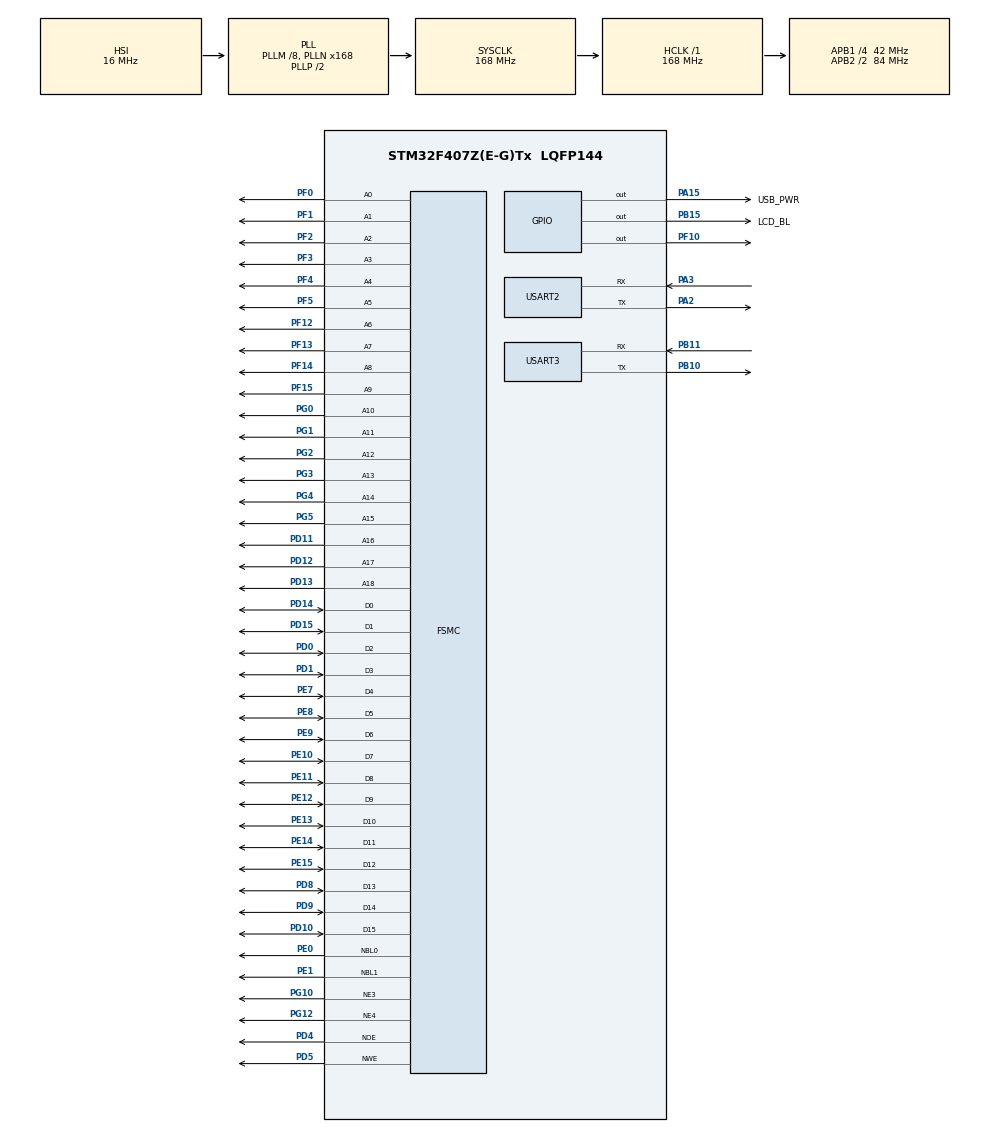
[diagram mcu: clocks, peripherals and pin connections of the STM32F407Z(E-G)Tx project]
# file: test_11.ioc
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Dma.Request0=USART2_RX
Dma.Request1=USART3_RX
Dma.USART2_RX.0.Direction=DMA_PERIPH_TO_MEMORY
Dma.USART2_RX.0.FIFOMode=DMA_FIFOMODE_DISABLE
Dma.USART2_RX.0.Instance=DMA1_Stream5
Dma.USART2_RX.0.MemDataAlignment=DMA_MDATAALIGN_BYTE
Dma.USART2_RX.0.MemInc=DMA_MINC_ENABLE
Dma.USART2_RX.0.Mode=DMA_CIRCULAR
Dma.USART2_RX.0.PeriphDataAlignment=DMA_PDATAALIGN_BYTE
Dma.USART2_RX.0.PeriphInc=DMA_PINC_DISABLE
Dma.USART2_RX.0.Priority=DMA_PRIORITY_HIGH
Dma.USART3_RX.1.Direction=DMA_PERIPH_TO_MEMORY
Dma.USART3_RX.1.FIFOMode=DMA_FIFOMODE_DISABLE
Dma.USART3_RX.1.Instance=DMA1_Stream1
Dma.USART3_RX.1.MemDataAlignment=DMA_MDATAALIGN_BYTE
Dma.USART3_RX.1.MemInc=DMA_MINC_ENABLE
Dma.USART3_RX.1.Mode=DMA_CIRCULAR
Dma.USART3_RX.1.PeriphDataAlignment=DMA_PDATAALIGN_BYTE
Dma.USART3_RX.1.PeriphInc=DMA_PINC_DISABLE
Dma.USART3_RX.1.Priority=DMA_PRIORITY_HIGH
FREERTOS.Tasks01=defaultTask,24,512,StartDefaultTask,Default,NULL,Dynamic,NULL,NULL;testTaskn,24,512,testTask,As external,NULL,Dynamic,NULL,NULL
FREERTOS.configTOTAL_HEAP_SIZE=30720
FREERTOS.configUSE_NEWLIB_REENTRANT=1
FSMC.AddressSetupTime1=5
FSMC.AddressSetupTime2=0
FSMC.BusTurnAroundDuration1=1
FSMC.BusTurnAroundDuration2=0
FSMC.DataSetupTime1=7
FSMC.DataSetupTime2=60
FSMC.ExtendedAddressSetupTime2=9
FSMC.ExtendedBusTurnAroundDuration2=0
FSMC.ExtendedDataSetupTime2=8
FSMC.ExtendedMode2=FSMC_EXTENDED_MODE_ENABLE
FSMC.WriteOperation1=FSMC_WRITE_OPERATION_ENABLE
Mcu.Family=STM32F4
Mcu.Name=STM32F407Z(E-G)Tx
Mcu.Package=LQFP144
NVIC.DMA1_Stream1_IRQn=true\:5\:0\:false\:false\:true\:true\:false\:true\:true
NVIC.DMA1_Stream5_IRQn=true\:5\:0\:true\:false\:true\:true\:false\:true\:true
NVIC.PriorityGroup=NVIC_PRIORITYGROUP_4
NVIC.TIM5_IRQn=true\:15\:0\:false\:false\:true\:false\:false\:true\:true
NVIC.TimeBase=TIM5_IRQn
NVIC.TimeBaseIP=TIM5
NVIC.USART2_IRQn=true\:5\:0\:true\:false\:true\:true\:true\:true\:true
NVIC.USART3_IRQn=true\:5\:0\:false\:false\:true\:true\:true\:true\:true
PA13.Mode=Serial_Wire
PA13.Signal=SYS_JTMS-SWDIO
PA14.Mode=Serial_Wire
PA14.Signal=SYS_JTCK-SWCLK
PA15.GPIO_Label=USB_PWR
PA15.Signal=GPIO_Output
PA2.GPIO_PuPd=GPIO_PULLUP
PA2.Mode=Asynchronous
PA2.Signal=USART2_TX
PA3.GPIO_PuPd=GPIO_PULLUP
PA3.Mode=Asynchronous
PA3.Signal=USART2_RX
PB10.GPIO_PuPd=GPIO_PULLUP
PB10.Mode=Asynchronous
PB10.Signal=USART3_TX
PB11.GPIO_PuPd=GPIO_PULLUP
PB11.Mode=Asynchronous
PB11.Signal=USART3_RX
PB15.GPIO_Label=LCD_BL
PB15.Signal=GPIO_Output
PD0.Signal=FSMC_D2_DA2
PD1.Signal=FSMC_D3_DA3
PD10.Signal=FSMC_D15_DA15
PD11.Signal=FSMC_A16_CLE
PD12.Signal=FSMC_A17_ALE
PD13.Signal=FSMC_A18
PD14.Signal=FSMC_D0_DA0
PD15.Signal=FSMC_D1_DA1
PD4.Signal=FSMC_NOE
PD5.Signal=FSMC_NWE
PD8.Signal=FSMC_D13_DA13
PD9.Signal=FSMC_D14_DA14
PE0.Signal=FSMC_NBL0
PE1.Signal=FSMC_NBL1
PE10.Signal=FSMC_D7_DA7
PE11.Signal=FSMC_D8_DA8
PE12.Signal=FSMC_D9_DA9
PE13.Signal=FSMC_D10_DA10
PE14.Signal=FSMC_D11_DA11
PE15.Signal=FSMC_D12_DA12
PE7.Signal=FSMC_D4_DA4
PE8.Signal=FSMC_D5_DA5
PE9.Signal=FSMC_D6_DA6
PF0.Signal=FSMC_A0
PF1.Signal=FSMC_A1
PF10.Signal=GPIO_Output
PF12.Signal=FSMC_A6
PF13.Signal=FSMC_A7
PF14.Signal=FSMC_A8
PF15.Signal=FSMC_A9
PF2.Signal=FSMC_A2
PF3.Signal=FSMC_A3
PF4.Signal=FSMC_A4
PF5.Signal=FSMC_A5
PG0.Signal=FSMC_A10
PG1.Signal=FSMC_A11
PG10.Mode=NorPsramChipSelect3_1
PG10.Signal=FSMC_NE3
PG12.Mode=NorPsramChipSelect4_2
PG12.Signal=FSMC_NE4
PG2.Signal=FSMC_A12
PG3.Signal=FSMC_A13
PG4.Signal=FSMC_A14
PG5.Signal=FSMC_A15
ProjectManager.HeapSize=0x2000
ProjectManager.StackSize=0x4000
ProjectManager.TargetToolchain=STM32CubeIDE
RCC.48MHZClocksFreq_Value=67200000
RCC.AHBFreq_Value=168000000
RCC.APB1CLKDivider=RCC_HCLK_DIV4
RCC.APB1Freq_Value=42000000
RCC.APB1TimFreq_Value=84000000
RCC.APB2CLKDivider=RCC_HCLK_DIV2
RCC.APB2Freq_Value=84000000
RCC.APB2TimFreq_Value=168000000
RCC.CortexFreq_Value=168000000
RCC.HCLKFreq_Value=168000000
RCC.HSE_VALUE=25000000
RCC.HSI_VALUE=16000000
RCC.LSE_VALUE=32768
RCC.PLLM=8
RCC.PLLN=168
RCC.PLLQ=5
RCC.SYSCLKFreq_VALUE=168000000
RCC.SYSCLKSource=RCC_SYSCLKSOURCE_PLLCLK
RCC.VCOOutputFreq_Value=336000000
SH.FSMC_A0.0=FSMC_A0,19b-a1
SH.FSMC_A1.0=FSMC_A1,19b-a1
SH.FSMC_A10.0=FSMC_A10,19b-a1
SH.FSMC_A11.0=FSMC_A11,19b-a1
SH.FSMC_A12.0=FSMC_A12,19b-a1
SH.FSMC_A13.0=FSMC_A13,19b-a1
SH.FSMC_A14.0=FSMC_A14,19b-a1
SH.FSMC_A15.0=FSMC_A15,19b-a1
SH.FSMC_A16_CLE.0=FSMC_A16,19b-a1
SH.FSMC_A17_ALE.0=FSMC_A17,19b-a1
SH.FSMC_A18.0=FSMC_A18,19b-a1
SH.FSMC_A2.0=FSMC_A2,19b-a1
SH.FSMC_A3.0=FSMC_A3,19b-a1
SH.FSMC_A4.0=FSMC_A4,19b-a1
SH.FSMC_A5.0=FSMC_A5,19b-a1
SH.FSMC_A6.0=FSMC_A6,19b-a1
SH.FSMC_A6.1=FSMC_A6,A6_2
SH.FSMC_A7.0=FSMC_A7,19b-a1
SH.FSMC_A8.0=FSMC_A8,19b-a1
SH.FSMC_A9.0=FSMC_A9,19b-a1
SH.FSMC_D0_DA0.0=FSMC_D0,16b-d1
SH.FSMC_D0_DA0.1=FSMC_D0,16b-d2
SH.FSMC_D10_DA10.0=FSMC_D10,16b-d1
SH.FSMC_D10_DA10.1=FSMC_D10,16b-d2
SH.FSMC_D11_DA11.0=FSMC_D11,16b-d1
SH.FSMC_D11_DA11.1=FSMC_D11,16b-d2
SH.FSMC_D12_DA12.0=FSMC_D12,16b-d1
SH.FSMC_D12_DA12.1=FSMC_D12,16b-d2
SH.FSMC_D13_DA13.0=FSMC_D13,16b-d1
SH.FSMC_D13_DA13.1=FSMC_D13,16b-d2
SH.FSMC_D14_DA14.0=FSMC_D14,16b-d1
SH.FSMC_D14_DA14.1=FSMC_D14,16b-d2
SH.FSMC_D15_DA15.0=FSMC_D15,16b-d1
SH.FSMC_D15_DA15.1=FSMC_D15,16b-d2
SH.FSMC_D1_DA1.0=FSMC_D1,16b-d1
SH.FSMC_D1_DA1.1=FSMC_D1,16b-d2
SH.FSMC_D2_DA2.0=FSMC_D2,16b-d1
SH.FSMC_D2_DA2.1=FSMC_D2,16b-d2
SH.FSMC_D3_DA3.0=FSMC_D3,16b-d1
SH.FSMC_D3_DA3.1=FSMC_D3,16b-d2
SH.FSMC_D4_DA4.0=FSMC_D4,16b-d1
SH.FSMC_D4_DA4.1=FSMC_D4,16b-d2
SH.FSMC_D5_DA5.0=FSMC_D5,16b-d1
SH.FSMC_D5_DA5.1=FSMC_D5,16b-d2
SH.FSMC_D6_DA6.0=FSMC_D6,16b-d1
SH.FSMC_D6_DA6.1=FSMC_D6,16b-d2
SH.FSMC_D7_DA7.0=FSMC_D7,16b-d1
SH.FSMC_D7_DA7.1=FSMC_D7,16b-d2
SH.FSMC_D8_DA8.0=FSMC_D8,16b-d1
SH.FSMC_D8_DA8.1=FSMC_D8,16b-d2
SH.FSMC_D9_DA9.0=FSMC_D9,16b-d1
SH.FSMC_D9_DA9.1=FSMC_D9,16b-d2
SH.FSMC_NBL0.0=FSMC_NBL0,2ByteEnable1
SH.FSMC_NBL1.0=FSMC_NBL1,2ByteEnable1
SH.FSMC_NOE.0=FSMC_NOE,Sram1
SH.FSMC_NOE.1=FSMC_NOE,Lcd2
SH.FSMC_NWE.0=FSMC_NWE,Sram1
SH.FSMC_NWE.1=FSMC_NWE,Lcd2
USART2.VirtualMode=VM_ASYNC
USART3.VirtualMode=VM_ASYNC
VP_FREERTOS_VS_CMSIS_V2.Mode=CMSIS_V2
VP_SYS_VS_tim5.Mode=TIM5
board=custom

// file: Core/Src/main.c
/* USER CODE BEGIN Header */
/**
 ******************************************************************************
 * @file           : main.c
 * @brief          : Main program body
 ******************************************************************************
 * @attention
 *
 * Copyright (c) 2022 STMicroelectronics.
 * All rights reserved.
 *
 * This software is licensed under terms that can be found in the LICENSE file
 * in the root directory of this software component.
 * If no LICENSE file comes with this software, it is provided AS-IS.
 *
 ******************************************************************************
 */
/* USER CODE END Header */
#include "main.h"
#include "cmsis_os.h"
#include "dma.h"
#include "usart.h"
#include "gpio.h"
#include "fsmc.h"

/* USER CODE BEGIN Includes */
#include "uart_packet_handler.h"
#include "lcd.h"
#include <stdio.h>
#include <string.h>
#include <stdlib.h>
/* USER CODE END Includes */

/* USER CODE BEGIN PV */
UartMessageHandler debugMessageHandler;
UartMessageHandler espMessageHandler;
uint32_t lcd_test = 0;
char lcd_s[100] = { 0 };
/* USER CODE END PV */

void SystemClock_Config(void);
void MX_FREERTOS_Init(void);

/* USER CODE BEGIN 0 */
#ifdef __GNUC__
#define PUTCHAR_PROTOTYPE int __io_putchar(int ch)
#else
#define PUTCHAR_PROTOTYPE int fputc(int ch, FILE *f)
#endif

PUTCHAR_PROTOTYPE {
  HAL_UART_Transmit(&huart2, (uint8_t*) &ch, 1, HAL_MAX_DELAY);
  return ch;
}

void Vector_Init_Setting(uint32_t addr)  //The interrupt vector transfer
{
  SCB->VTOR = addr;
}
void debugPacketHandler(uint8_t *packet, uint16_t packetLen, void *arg) {
}

void espPacketHandler(uint8_t *packet, uint16_t packetLen, void *arg) {
  printf("%.*s\r\n", packetLen, packet);
}

void testTask(void *argument) {
  for (;;) {
    HAL_GPIO_TogglePin(GPIOF, GPIO_PIN_10);
    LLSendData(&espMessageHandler.llhandler, "hello_esp", strlen("hello_esp"));
    memset(lcd_test, 0, 100);
    lcd_test++;
    snprintf(lcd_s, 100, "LCD test:%d!", lcd_test);
    LCD_ShowString(30, 50, 200, 16, 16, lcd_s);
    osDelay(1000);
  }
}
/* USER CODE END 0 */

int main(void)
{
  /* USER CODE BEGIN 1 */
  Vector_Init_Setting(FLASH_BASE);
  /* USER CODE END 1 */

  /* MCU Configuration--------------------------------------------------------*/

  /* Reset of all peripherals, Initializes the Flash interface and the Systick. */
  HAL_Init();

  /* Configure the system clock */
  SystemClock_Config();

  /* Initialize all configured peripherals */
  MX_GPIO_Init();
  MX_DMA_Init();
  MX_USART2_UART_Init();
  MX_FSMC_Init();
  MX_USART3_UART_Init();
  /* USER CODE BEGIN 2 */
  UartPacketSetFunction(&debugMessageHandler, debugPacketHandler);
  UartPacketHandlerInit(&debugMessageHandler, &huart2, &hdma_usart2_rx);

  UartPacketSetFunction(&espMessageHandler, espPacketHandler);
  UartPacketHandlerInit(&espMessageHandler, &huart3, &hdma_usart3_rx);
  LCD_Init();
  LCD_ShowString(30, 50, 200, 16, 16, "Lcd test!");
  /* USER CODE END 2 */

  /* Init scheduler */
  osKernelInitialize();  /* Call init function for freertos objects (in freertos.c) */
  MX_FREERTOS_Init();

  /* Start scheduler */
  osKernelStart();

  /* We should never get here as control is now taken by the scheduler */
  /* Infinite loop */
  /* USER CODE BEGIN WHILE */
  while (1) {
    HAL_GPIO_TogglePin(GPIOF, GPIO_PIN_10);
    LLSendData(&espMessageHandler.llhandler, "hello_esp", strlen("hello_esp"));
    memset(lcd_test, 0, 100);
    lcd_test++;
    snprintf(lcd_s, 100, "LCD test:%d!", lcd_test);
    LCD_ShowString(30, 50, 200, 16, 16, lcd_s);
    HAL_Delay(1000);
    /* USER CODE END WHILE */

  }
}

void SystemClock_Config(void)
{
  RCC_OscInitTypeDef RCC_OscInitStruct = {0};
  RCC_ClkInitTypeDef RCC_ClkInitStruct = {0};

  /** Configure the main internal regulator output voltage
  */
  __HAL_RCC_PWR_CLK_ENABLE();
  __HAL_PWR_VOLTAGESCALING_CONFIG(PWR_REGULATOR_VOLTAGE_SCALE1);

  /** Initializes the RCC Oscillators according to the specified parameters
  * in the RCC_OscInitTypeDef structure.
  */
  RCC_OscInitStruct.OscillatorType = RCC_OSCILLATORTYPE_HSI;
  RCC_OscInitStruct.HSIState = RCC_HSI_ON;
  RCC_OscInitStruct.HSICalibrationValue = RCC_HSICALIBRATION_DEFAULT;
  RCC_OscInitStruct.PLL.PLLState = RCC_PLL_ON;
  RCC_OscInitStruct.PLL.PLLSource = RCC_PLLSOURCE_HSI;
  RCC_OscInitStruct.PLL.PLLM = 8;
  RCC_OscInitStruct.PLL.PLLN = 168;
  RCC_OscInitStruct.PLL.PLLP = RCC_PLLP_DIV2;
  RCC_OscInitStruct.PLL.PLLQ = 5;
  if (HAL_RCC_OscConfig(&RCC_OscInitStruct) != HAL_OK)
  {
    Error_Handler();
  }

  /** Initializes the CPU, AHB and APB buses clocks
  */
  RCC_ClkInitStruct.ClockType = RCC_CLOCKTYPE_HCLK|RCC_CLOCKTYPE_SYSCLK
                              |RCC_CLOCKTYPE_PCLK1|RCC_CLOCKTYPE_PCLK2;
  RCC_ClkInitStruct.SYSCLKSource = RCC_SYSCLKSOURCE_PLLCLK;
  RCC_ClkInitStruct.AHBCLKDivider = RCC_SYSCLK_DIV1;
  RCC_ClkInitStruct.APB1CLKDivider = RCC_HCLK_DIV4;
  RCC_ClkInitStruct.APB2CLKDivider = RCC_HCLK_DIV2;

  if (HAL_RCC_ClockConfig(&RCC_ClkInitStruct, FLASH_LATENCY_5) != HAL_OK)
  {
    Error_Handler();
  }
}

void HAL_TIM_PeriodElapsedCallback(TIM_HandleTypeDef *htim)
{
  if (htim->Instance == TIM5) {
    HAL_IncTick();
  }
}

void Error_Handler(void)
{
  __disable_irq();
  while (1) {
  }
}

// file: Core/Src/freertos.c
/* USER CODE BEGIN Header */
/**
  ******************************************************************************
  * File Name          : freertos.c
  * Description        : Code for freertos applications
  ******************************************************************************
  * @attention
  *
  * Copyright (c) 2022 STMicroelectronics.
  * All rights reserved.
  *
  * This software is licensed under terms that can be found in the LICENSE file
  * in the root directory of this software component.
  * If no LICENSE file comes with this software, it is provided AS-IS.
  *
  ******************************************************************************
  */
/* USER CODE END Header */

#include "FreeRTOS.h"
#include "task.h"
#include "main.h"
#include "cmsis_os.h"

/* Definitions for defaultTask */
osThreadId_t defaultTaskHandle;
const osThreadAttr_t defaultTask_attributes = {
  .name = "defaultTask",
  .stack_size = 512 * 4,
  .priority = (osPriority_t) osPriorityNormal,
};
/* Definitions for testTaskn */
osThreadId_t testTasknHandle;
const osThreadAttr_t testTaskn_attributes = {
  .name = "testTaskn",
  .stack_size = 512 * 4,
  .priority = (osPriority_t) osPriorityNormal,
};

void StartDefaultTask(void *argument);
extern void testTask(void *argument);

void MX_FREERTOS_Init(void); /* (MISRA C 2004 rule 8.1) */

void MX_FREERTOS_Init(void) {
  /* USER CODE BEGIN Init */
  defaultTaskHandle = osThreadNew(StartDefaultTask, NULL, &defaultTask_attributes);
  testTasknHandle = osThreadNew(testTask, NULL, &testTaskn_attributes);
  /* USER CODE END Init */
/* USER CODE BEGIN Header */
/**
  ******************************************************************************
  * File Name          : freertos.c
  * Description        : Code for freertos applications
  ******************************************************************************
  * @attention
  *
  * Copyright (c) 2022 STMicroelectronics.
  * All rights reserved.
  *
  * This software is licensed under terms that can be found in the LICENSE file
  * in the root directory of this software component.
  * If no LICENSE file comes with this software, it is provided AS-IS.
  *
  ******************************************************************************
  */
/* USER CODE END Header */

}

void StartDefaultTask(void *argument)
{
  /* USER CODE BEGIN StartDefaultTask */
  /* Infinite loop */
  for(;;)
  {
    printf("111\r\n");
    osDelay(5000);
  }
  /* USER CODE END StartDefaultTask */
}
